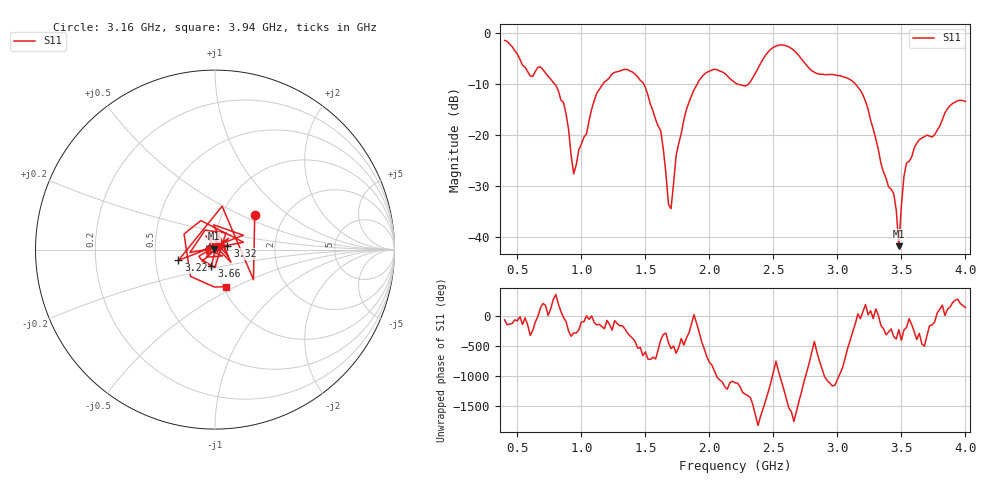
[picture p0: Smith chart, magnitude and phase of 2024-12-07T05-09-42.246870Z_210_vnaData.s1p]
!Created with skrf (http://scikit-rf.org).
# Hz S RI R 50.0
!freq ReS11 ImS11
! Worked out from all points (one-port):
!   181 points, 400 MHz to 4 GHz, reference 50 ohm
!   lowest |S11| = -41.8 dB at 3.48 GHz (marker M1), VSWR 1.02, Z = 49.4 + j0.559 ohm
!   |S11| at or under -10 dB: 789.2 MHz to 1.17 GHz (380.9 MHz wide, 38.9 % of centre); 1.485 GHz to 1.906 GHz (421.3 MHz wide, 24.8 % of centre); 3.139 GHz to end of sweep (the widest 3 of 4)
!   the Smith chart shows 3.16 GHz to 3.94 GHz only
!   S11 on the Smith chart (normalised r, x): 3.16 GHz: 1.42, +0.60; 3.22 GHz: 0.66, -0.08; 3.32 GHz: 1.15, +0.05; 3.66 GHz: 0.95, -0.17; 3.94 GHz: 1.03, -0.45
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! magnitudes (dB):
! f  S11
! 400 MHz  -1.5
! 700 MHz  -7.2
! 860 MHz  -13.7
! 940 MHz  -27.6
! 1.12 GHz  -11.9
! 1.3 GHz  -7.5
! 1.5 GHz  -10.8
! 1.62 GHz  -19.3
! 1.68 GHz  -33.6
! 1.7 GHz  -34.5
! 1.76 GHz  -21.7
! 1.84 GHz  -13.6
! 1.96 GHz  -8.1
! 2.2 GHz  -9.8
! 2.3 GHz  -10.2
! 2.5 GHz  -2.9
! 2.66 GHz  -3.5
! 3.1 GHz  -9.2
! 3.16 GHz  -10.7
! 3.22 GHz  -13.5
! 3.32 GHz  -22.9
! 3.44 GHz  -31.5
! 3.48 GHz  -41.8
! 3.52 GHz  -28.2
! 3.56 GHz  -25.2
! 3.66 GHz  -20.7
! 3.94 GHz  -13.3
! 4 GHz  -13.5
